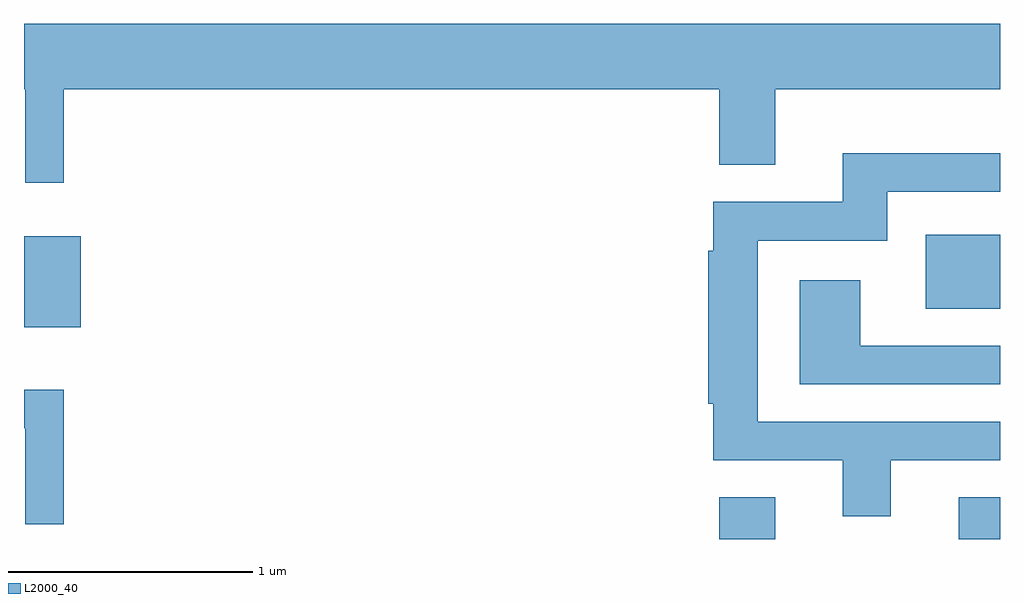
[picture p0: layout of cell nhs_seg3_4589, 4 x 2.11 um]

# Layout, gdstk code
import gdstk
lib = gdstk.Library(unit=1e-6, precision=1e-09)
def R(c, l, rs):  # rectangles x0, y0, x1, y1
    for r in rs: c.add(gdstk.rectangle(r[:2], r[2:], *l))
def P(c, l, *ps):  # polygons
    for p in ps: c.add(gdstk.Polygon(p, *l))
L2000_40 = (2000, 40)

nhs_seg3_4589 = lib.new_cell('nhs_seg3_4589')
R(nhs_seg3_4589, L2000_40, [(322.461,1181.892,322.689,1182.064), (323.441,1181.892,323.611,1182.064), (319.611,1182.761,319.844,1183.134), (323.306,1182.836,323.611,1183.139)])
P(nhs_seg3_4589, L2000_40, [(319.774,1183.736),(322.461,1183.736),(322.461,1183.426),(322.689,1183.426),(322.689,1183.736),(323.611,1183.736),(323.611,1184.004),(319.611,1184.004),(319.611,1183.736),(319.616,1183.736),(319.616,1183.353),(319.774,1183.353)],
  [(323.164,1182.216),(323.611,1182.216),(323.611,1182.374),(322.619,1182.374),(322.619,1183.116),(323.149,1183.116),(323.149,1183.316),(323.611,1183.316),(323.611,1183.474),(322.966,1183.474),(322.966,1183.274),(322.436,1183.274),(322.436,1183.074),(322.416,1183.074),(322.416,1182.446),(322.436,1182.446),(322.436,1182.216),(322.966,1182.216),(322.966,1181.986),(323.164,1181.986)],
  [(323.611,1182.684),(323.039,1182.684),(323.039,1182.954),(322.791,1182.954),(322.791,1182.526),(323.611,1182.526)],
  [(319.774,1182.504),(319.611,1182.504),(319.611,1182.346),(319.616,1182.346),(319.616,1181.953),(319.774,1181.953)])

lib.write_gds('nhs_seg3_4589.gds')
